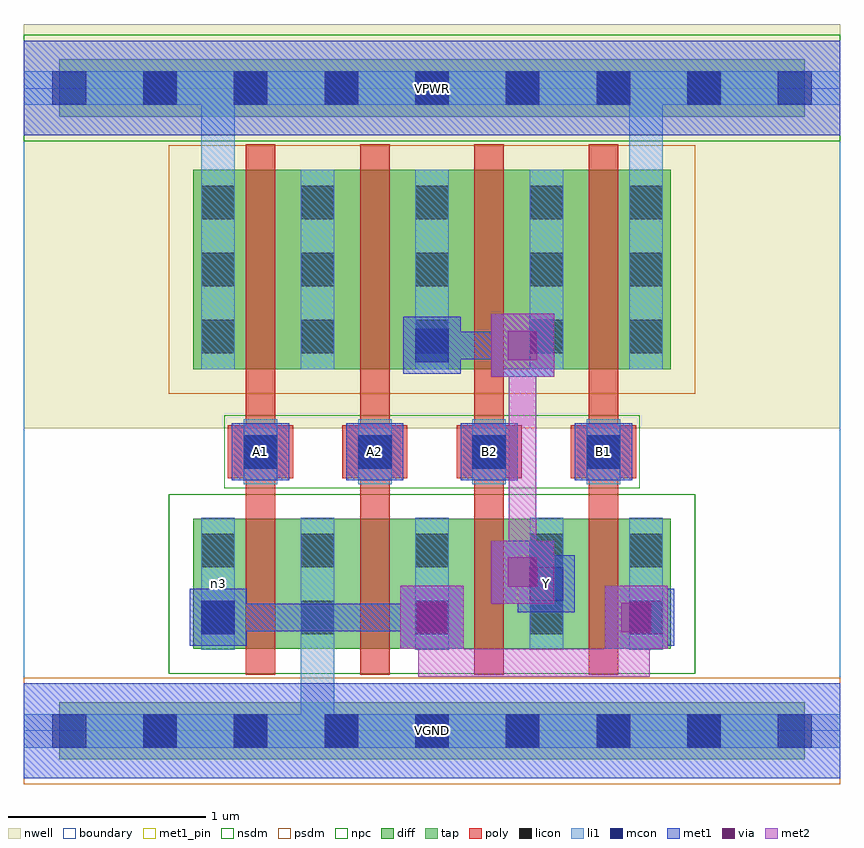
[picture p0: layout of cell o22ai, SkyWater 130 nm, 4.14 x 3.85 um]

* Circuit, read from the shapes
.subckt o22ai A1 A2 B1 B2 VGND VPWR Y n3
XM1 VGND A1 n3 VGND sky130_fd_pr__nfet_01v8 w=0.66 l=0.15
XM2 n3 A2 VGND VGND sky130_fd_pr__nfet_01v8 w=0.66 l=0.15
XM3 Y B2 n3 VGND sky130_fd_pr__nfet_01v8 w=0.66 l=0.15
XM4 n3 B1 Y VGND sky130_fd_pr__nfet_01v8 w=0.66 l=0.15
XM5 n1 A1 VPWR VPWR sky130_fd_pr__pfet_01v8 w=1.01 l=0.15
XM6 Y A2 n1 VPWR sky130_fd_pr__pfet_01v8 w=1.01 l=0.15
XM7 n2 B2 Y VPWR sky130_fd_pr__pfet_01v8 w=1.01 l=0.15
XM8 VPWR B1 n2 VPWR sky130_fd_pr__pfet_01v8 w=1.01 l=0.15
.ends

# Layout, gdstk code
import gdstk
lib = gdstk.Library(unit=1e-6, precision=1e-09)
def R(c, l, rs):  # rectangles x0, y0, x1, y1
    for r in rs: c.add(gdstk.rectangle(r[:2], r[2:], *l))
def A(c, l, x, y, w, h, nx, ny, dx, dy):  # array of equal rectangles
    R(c, l, [(x+i*dx, y+j*dy, x+i*dx+w, y+j*dy+h) for i in range(nx) for j in range(ny)])
nwell = (64, 20)
diff = (65, 20)
tap = (65, 44)
poly = (66, 20)
licon = (66, 44)
li1 = (67, 20)
mcon = (67, 44)
met1_pin = (68, 16)
met1 = (68, 20)
via = (68, 44)
met2 = (69, 20)
nsdm = (93, 44)
psdm = (94, 20)
npc = (95, 20)
boundary = (235, 4)

o22ai = lib.new_cell('o22ai')
R(o22ai, nwell, [(0,1.535,4.14,3.585)])
R(o22ai, diff, [(0.86,0.415,3.28,1.075), (0.86,1.835,3.28,2.845)])
R(o22ai, tap, [(0.18,-0.145,3.96,0.145), (0.18,3.115,3.96,3.405)])
A(o22ai, poly, 1.125, 0.285, 0.15, 2.69, 4, 1, 0.58, 0)
A(o22ai, poly, 1.035, 1.28, 0.33, 0.27, 4, 1, 0.58, 0)
A(o22ai, licon, 0.605, -0.085, 0.17, 0.17, 7, 2, 0.46, 3.26)
A(o22ai, licon, 1.405, 0.49, 0.17, 0.17, 3, 2, 0.58, 0.34)
A(o22ai, licon, 1.115, 1.33, 0.17, 0.17, 4, 1, 0.58, 0)
A(o22ai, licon, 0.9, 1.915, 0.17, 0.17, 1, 3, 0, 0.34)
A(o22ai, licon, 1.405, 1.915, 0.17, 0.17, 3, 3, 0.58, 0.34)
A(o22ai, licon, 3.07, 1.915, 0.17, 0.17, 1, 3, 0, 0.34)
R(o22ai, licon, [(0.9,0.49,1.07,0.66), (3.07,0.49,3.24,0.66), (0.9,0.83,1.07,1), (3.07,0.83,3.24,1)])
A(o22ai, li1, 1.405, 0.41, 0.17, 0.67, 3, 1, 0.58, 0)
A(o22ai, li1, 1.115, 1.25, 0.17, 0.33, 4, 1, 0.58, 0)
A(o22ai, li1, 1.405, 1.835, 0.17, 1.01, 3, 1, 0.58, 0)
R(o22ai, li1, [(0,-0.085,4.14,0.085), (1.405,-0.085,1.575,1.08), (0.9,0.41,1.07,1.08), (3.07,0.41,3.24,1.08), (0.9,1.835,1.07,2.845), (0.9,1.835,1.07,3.345), (3.07,1.835,3.24,2.845), (3.07,1.835,3.24,3.345), (0,3.175,4.14,3.345)])
A(o22ai, mcon, 0.145, -0.085, 0.17, 0.17, 9, 2, 0.46, 3.26)
A(o22ai, mcon, 0.9, 0.49, 0.17, 0.17, 3, 1, 1.085, 0)
A(o22ai, mcon, 1.115, 1.33, 0.17, 0.17, 4, 1, 0.58, 0)
R(o22ai, mcon, [(2.565,0.66,2.735,0.83), (1.985,1.87,2.155,2.04)])
A(o22ai, met1_pin, 1.055, 1.27, 0.29, 0.29, 4, 1, 0.58, 0)
R(o22ai, met1_pin, [(0,-0.24,4.14,0.24), (2.505,0.6,2.795,0.89), (0,3.02,4.14,3.5)])
A(o22ai, met1, 0.84, 0.43, 0.29, 0.29, 3, 1, 1.085, 0)
A(o22ai, met1, 1.055, 1.27, 0.29, 0.29, 4, 1, 0.58, 0)
R(o22ai, met1, [(0,-0.24,4.14,0.24), (1.91,0.415,2.23,0.735), (2.945,0.415,3.265,0.735), (0.915,0.505,1.22,0.645), (1.08,0.505,2.14,0.645), (3.035,0.505,3.225,0.645), (2.505,0.6,2.795,0.89), (2.37,0.645,2.69,0.965), (2.46,0.735,2.715,0.875), (2.575,0.735,2.715,0.875), (2.37,1.795,2.69,2.115), (1.925,1.81,2.215,2.1), (2,1.885,2.6,2.025), (0,3.02,4.14,3.5)])
R(o22ai, via, [(1.995,0.5,2.145,0.65), (3.03,0.5,3.18,0.65), (2.455,0.73,2.605,0.88), (2.455,1.88,2.605,2.03)])
R(o22ai, met2, [(2,0.275,2.14,0.645), (2,0.275,3.175,0.415), (3.035,0.275,3.175,0.645), (1.91,0.415,2.23,0.735), (2.945,0.415,3.265,0.735), (2.37,0.645,2.69,0.965), (2.46,0.735,2.6,2.025), (2.37,1.795,2.69,2.115)])
R(o22ai, nsdm, [(0.735,0.29,3.405,1.2), (0,2.99,4.14,3.53)])
R(o22ai, psdm, [(0,-0.27,4.14,0.27), (0.735,1.71,3.405,2.97)])
R(o22ai, npc, [(1.015,1.23,3.125,1.6)])
R(o22ai, boundary, [(0,0,4.14,3.26)])
o22ai.add(gdstk.Label('n3', (0.985,0.745), layer=67, texttype=5))
o22ai.add(gdstk.Label('A1', (1.2,1.415), layer=68, texttype=5))
o22ai.add(gdstk.Label('A2', (1.78,1.415), layer=68, texttype=5))
o22ai.add(gdstk.Label('B1', (2.94,1.415), layer=68, texttype=5))
o22ai.add(gdstk.Label('B2', (2.36,1.415), layer=68, texttype=5))
o22ai.add(gdstk.Label('Y', (2.65,0.745), layer=68, texttype=5))
o22ai.add(gdstk.Label('VPWR', (2.07,3.26), layer=68, texttype=5))
o22ai.add(gdstk.Label('VGND', (2.07,0), layer=68, texttype=5))
o22ai.add(gdstk.Label('A1', (1.2,1.415), layer=68, texttype=16))
o22ai.add(gdstk.Label('A2', (1.78,1.415), layer=68, texttype=16))
o22ai.add(gdstk.Label('B1', (2.94,1.415), layer=68, texttype=16))
o22ai.add(gdstk.Label('B2', (2.36,1.415), layer=68, texttype=16))
o22ai.add(gdstk.Label('Y', (2.65,0.745), layer=68, texttype=16))
o22ai.add(gdstk.Label('VPWR', (2.07,3.26), layer=68, texttype=16))
o22ai.add(gdstk.Label('VGND', (2.07,0), layer=68, texttype=16))

lib.write_gds('o22ai.gds')
